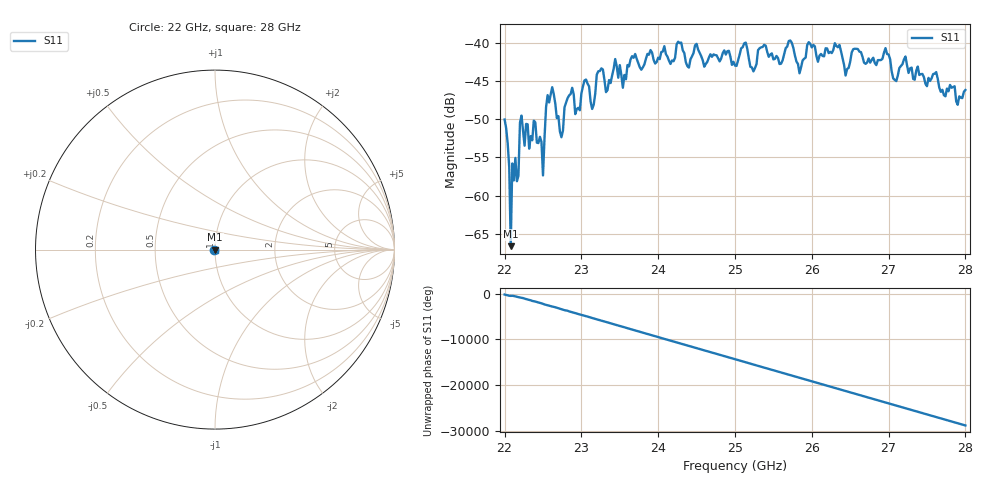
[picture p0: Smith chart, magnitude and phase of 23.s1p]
#  HZ  S  RI  R  50.00
! Rohde & Schwarz ZVA40 4Ports - Version 3.90 - 1145.1110k42 SN: 100403
! Date: 2023-10-04 06:03:10
! Measurement: S12
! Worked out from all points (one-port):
!   301 points, 22 GHz to 28 GHz, reference 50 ohm
!   lowest |S11| = -66.6 dB at 22.08 GHz (marker M1), VSWR 1.00, Z = 50 - j0.0414 ohm
!   |S11| at or under -10 dB: start of sweep to end of sweep
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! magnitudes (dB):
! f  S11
! 22 GHz  -50.0
! 22.06 GHz  -56.2
! 22.08 GHz  -66.6
! 22.1 GHz  -55.8
! 22.18 GHz  -57.4
! 22.2 GHz  -50.4
! 22.22 GHz  -49.5
! 22.32 GHz  -53.9
! 22.4 GHz  -50.4
! 22.5 GHz  -57.4
! 22.56 GHz  -46.8
! 22.76 GHz  -51.5
! 22.88 GHz  -45.9
! 22.92 GHz  -49.3
! 23.14 GHz  -48.6
! 23.22 GHz  -43.7
! 23.32 GHz  -46.4
! 23.5 GHz  -42.9
! 23.54 GHz  -45.9
! 23.66 GHz  -41.7
! 24.26 GHz  -39.8
! 25 GHz  -43.0
! 25.76 GHz  -40.7
! 25.84 GHz  -44.0
! 25.96 GHz  -39.9
! 26.5 GHz  -42.4
! 27.26 GHz  -43.9
! 28 GHz  -46.2
